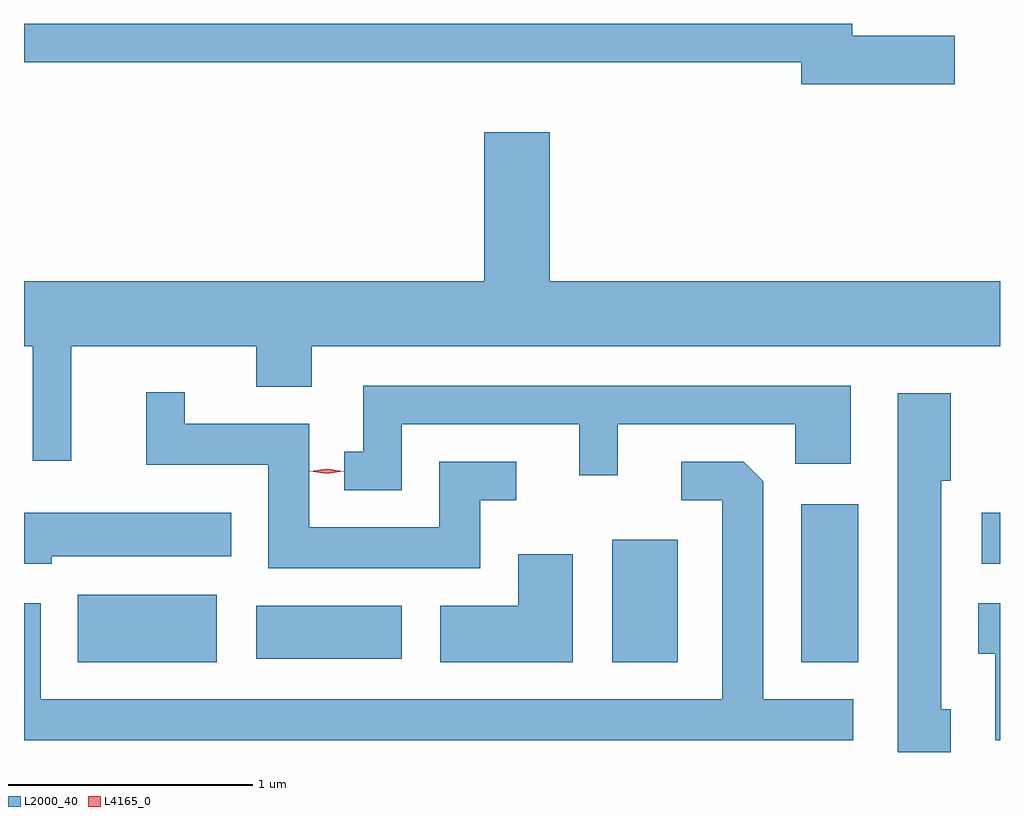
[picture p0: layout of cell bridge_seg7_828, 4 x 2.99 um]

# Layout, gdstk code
import gdstk
lib = gdstk.Library(unit=1e-6, precision=1e-09)
def R(c, l, rs):  # rectangles x0, y0, x1, y1
    for r in rs: c.add(gdstk.rectangle(r[:2], r[2:], *l))
def P(c, l, *ps):  # polygons
    for p in ps: c.add(gdstk.Polygon(p, *l))
L2000_40 = (2000, 40)
L4165_0 = (4165, 0)

bridge_seg7_828 = lib.new_cell('bridge_seg7_828')
R(bridge_seg7_828, L2000_40, [(313.311,1668.621,313.879,1668.899), (315.501,1668.621,315.769,1669.124), (316.276,1668.621,316.509,1669.269), (314.041,1668.636,314.639,1668.854), (317.016,1669.026,317.09,1669.234)])
P(bridge_seg7_828, L2000_40, [(316.904,1671.189),(316.484,1671.189),(316.484,1671.239),(313.09,1671.239),(313.09,1671.081),(316.276,1671.081),(316.276,1670.991),(316.904,1670.991)],
  [(313.284,1669.916),(314.041,1669.916),(314.041,1669.751),(314.269,1669.751),(314.269,1669.916),(317.09,1669.916),(317.09,1670.184),(315.244,1670.184),(315.244,1670.794),(314.976,1670.794),(314.976,1670.184),(313.09,1670.184),(313.09,1669.916),(313.126,1669.916),(313.126,1669.448),(313.284,1669.448)],
  [(314.639,1669.596),(315.366,1669.596),(315.366,1669.388),(315.524,1669.388),(315.524,1669.596),(316.251,1669.596),(316.251,1669.436),(316.479,1669.436),(316.479,1669.754),(314.481,1669.754),(314.481,1669.484),(314.403,1669.484),(314.403,1669.326),(314.639,1669.326)],
  [(314.959,1669.286),(315.108,1669.286),(315.108,1669.444),(314.791,1669.444),(314.791,1669.174),(314.259,1669.174),(314.259,1669.599),(313.749,1669.599),(313.749,1669.728),(313.591,1669.728),(313.591,1669.431),(314.091,1669.431),(314.091,1669.006),(314.959,1669.006)],
  [(316.889,1668.429),(316.849,1668.429),(316.849,1669.366),(316.889,1669.366),(316.889,1669.724),(316.671,1669.724),(316.671,1668.252),(316.889,1668.252)],
  [(316.488,1668.469),(316.119,1668.469),(316.119,1669.364),(316.039,1669.444),(315.783,1669.444),(315.783,1669.286),(315.951,1669.286),(315.951,1668.469),(313.159,1668.469),(313.159,1668.864),(313.09,1668.864),(313.09,1668.301),(316.488,1668.301)],
  [(313.204,1669.056),(313.939,1669.056),(313.939,1669.234),(313.09,1669.234),(313.09,1669.026),(313.204,1669.026)],
  [(315.339,1669.064),(315.116,1669.064),(315.116,1668.854),(314.796,1668.854),(314.796,1668.621),(315.339,1668.621)],
  [(317.09,1668.864),(317.001,1668.864),(317.001,1668.656),(317.071,1668.656),(317.071,1668.301),(317.09,1668.301)])
P(bridge_seg7_828, L4165_0, [(314.331,1669.394),(314.262,1669.404),(314.262,1669.404),(314.262,1669.404),(314.331,1669.414),(314.401,1669.405),(314.401,1669.405),(314.401,1669.404)])

lib.write_gds('bridge_seg7_828.gds')
